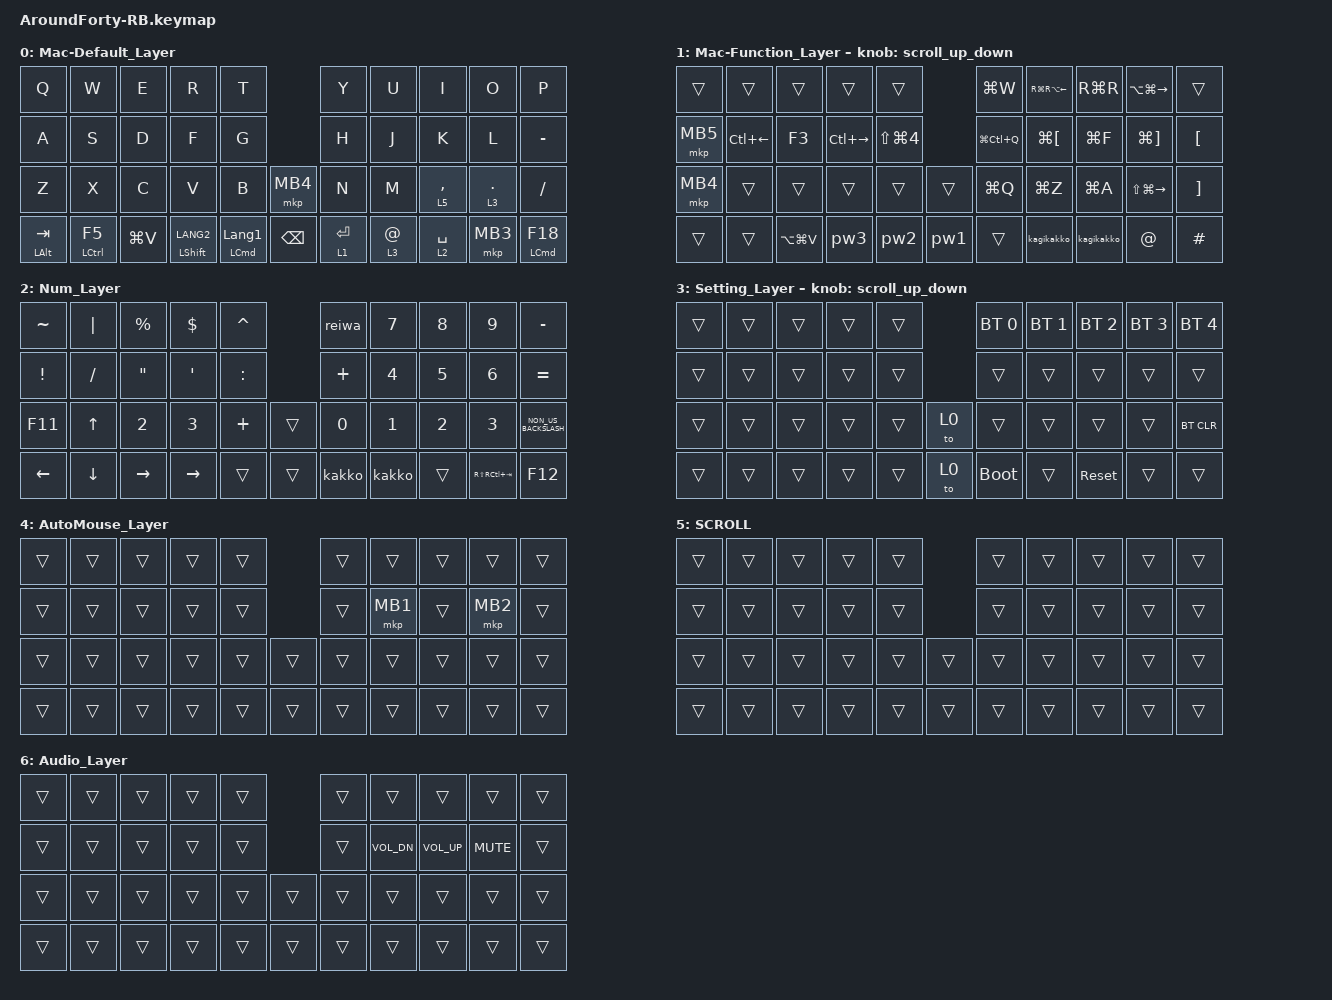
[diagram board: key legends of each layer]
#define ZMK_POINTING_DEFAULT_SCRL_VAL 100
#define MOUSE 6

#include <behaviors.dtsi>
#include <dt-bindings/zmk/bt.h>
#include <dt-bindings/zmk/keys.h>
#include <dt-bindings/zmk/pointing.h>

&mt {
    flavor = "balanced";
    tapping-term-ms = <300>;
};

&lt { quick-tap-ms = <300>; };

/ {
    combos {
        compatible = "zmk,combos";

        mouse_left_combo {
            timeout-ms = <45>;
            key-positions = <16 17>;
            layers = <0 4>;
            bindings = <&mkp MB1>;
            slow-release;
        };

        mouse_right_combo {
            timeout-ms = <45>;
            key-positions = <17 18>;
            layers = <0 4>;
            bindings = <&mkp MB2>;
            slow-release;
        };

        audio_combo {
            timeout-ms = <60>;
            key-positions = <39 37>;
            layers = <0 4>;
            bindings = <&mo 6>;
            slow-release;
        };


        tab {
            bindings = <&kp TAB>;
            key-positions = <10 11>;
        };

        shift+tab {
            bindings = <&kp LS(TAB)>;
            key-positions = <19 18>;
        };

        escape {
            bindings = <&kp ESCAPE>;
            key-positions = <0 1>;
        };
    };

    macros {
        kagikakko: new_macro {
            compatible = "zmk,behavior-macro";
            #binding-cells = <0>;
            bindings = <&kp LANGUAGE_1 &kp LEFT_BRACKET &kp RIGHT_BRACKET &kp RET &kp LEFT_ARROW>;
            label = "NEW_MACRO";
        };

        kakko: kakko {
            compatible = "zmk,behavior-macro";
            #binding-cells = <0>;
            bindings = <&kp LEFT_PARENTHESIS &kp RIGHT_PARENTHESIS &kp RET &kp LEFT_ARROW>;
            label = "KAKKO";
        };

        reiwa: reiwa {
            compatible = "zmk,behavior-macro";
            #binding-cells = <0>;
            bindings = <&kp LANGUAGE_1 &kp R &kp E &kp I &kp W &kp A>;
            label = "REIWA";
        };

        pw1: pw1 {
            compatible = "zmk,behavior-macro";
            #binding-cells = <0>;
            bindings = <&kp LANGUAGE_2 &kp N &kp O &kp B &kp U &kp NUMBER_6 &kp N9 &kp N5 &kp N7>;
            label = "PW1";
        };

        pw2: pw2 {
            compatible = "zmk,behavior-macro";
            #binding-cells = <0>;
            bindings = <&kp LANGUAGE_2 &kp LS(B) &kp A &kp T &kp B &kp NUMBER_3 &kp NUMBER_3 &kp N5 &kp N5 &kp NUMBER_3 &kp NUMBER_3>;
            label = "PW2";
        };

        pw3: pw3 {
            compatible = "zmk,behavior-macro";
            #binding-cells = <0>;
            bindings = <&kp LANGUAGE_2 &kp LS(B) &kp A &kp T &kp B &kp N0 &kp NUMBER_2 &kp NUMBER_1 &kp NUMBER_1>;
            label = "PW3";
        };
    };

    behaviors {
        scroll_up_down: behavior_sensor_rotate_mouse_wheel_up_down {
            compatible = "zmk,behavior-sensor-rotate";
            #sensor-binding-cells = <0>;
            bindings = <&msc SCRL_UP>, <&msc SCRL_DOWN>;

            tap-ms = <20>;
        };
    };

    keymap {
        compatible = "zmk,keymap";

        Mac-Default_Layer {
            bindings = <
&kp Q &kp W &kp E &kp R &kp T &kp Y &kp U &kp I &kp O &kp P
&kp A &kp S &kp D &kp F &kp G &kp H &kp J &kp K &kp L &kp MINUS
&kp Z &kp X &kp C &kp V &kp B &mkp MB4 &kp N &kp M &lt 5 COMMA &lt 3 PERIOD &kp SLASH
&mt LEFT_ALT TAB &mt LEFT_CONTROL F5 &kp LG(V) &mt LEFT_SHIFT LANG2 &mt LEFT_COMMAND LANGUAGE_1 &kp BACKSPACE &lt 1 ENTER &lt 3 AT_SIGN &lt 2 SPACE &mkp MB3 &mt LEFT_COMMAND F18
            >;
        };

        Mac-Function_Layer {
            bindings = <
&trans &trans &trans &trans &trans &kp LG(W) &kp RG(RA(LEFT_ARROW)) &kp RG(R) &kp LA(LG(RIGHT_ARROW)) &trans
&mkp MB5 &kp LC(LEFT) &kp F3 &kp LC(RIGHT) &kp LS(LG(NUMBER_4)) &kp LG(LC(Q)) &kp LG(LEFT_BRACKET) &kp LG(F) &kp LG(RIGHT_BRACKET) &kp LEFT_BRACKET
&mkp MB4 &trans &trans &trans &trans &trans &kp LG(Q) &kp LG(Z) &kp LG(A) &kp LS(LG(RIGHT)) &kp RIGHT_BRACKET
&trans &trans &kp LA(LG(V)) &pw3 &pw2 &pw1 &trans &kagikakko &kagikakko &kp AT_SIGN &kp HASH
            >;

            sensor-bindings = <&scroll_up_down>;
        };

        Num_Layer {
            bindings = <
&kp TILDE &kp PIPE &kp PERCENT &kp DOLLAR &kp CARET &reiwa &kp N7 &kp N8 &kp N9 &kp MINUS
&kp EXCLAMATION &kp SLASH &kp DOUBLE_QUOTES &kp SINGLE_QUOTE &kp COLON &kp PLUS &kp NUMBER_4 &kp N5 &kp NUMBER_6 &kp EQUAL
&kp F11 &kp UP_ARROW &kp NUMBER_2 &kp NUMBER_3 &kp PLUS &trans &kp NUMBER_0 &kp NUMBER_1 &kp NUMBER_2 &kp NUMBER_3 &kp NON_US_BACKSLASH
&kp LEFT_ARROW &kp DOWN_ARROW &kp RIGHT_ARROW &kp RIGHT_ARROW &trans &trans &kakko &kakko &trans &kp RS(RC(TAB)) &kp F12
            >;
        };

        Setting_Layer {
            bindings = <
&trans  &trans  &trans  &trans  &trans         &bt BT_SEL 0  &bt BT_SEL 1  &bt BT_SEL 2  &bt BT_SEL 3  &bt BT_SEL 4
&trans  &trans  &trans  &trans  &trans         &trans        &trans        &trans        &trans        &trans
&trans  &trans  &trans  &trans  &trans  &to 0  &trans        &trans        &trans        &trans        &bt BT_CLR
&trans  &trans  &trans  &trans  &trans  &to 0  &bootloader   &trans        &sys_reset    &trans        &trans
            >;

            sensor-bindings = <&scroll_up_down>;
        };

        AutoMouse_Layer {
            bindings = <
&trans  &trans  &trans  &trans  &trans          &trans  &trans    &trans  &trans    &trans
&trans  &trans  &trans  &trans  &trans          &trans  &mkp MB1  &trans  &mkp MB2  &trans
&trans  &trans  &trans  &trans  &trans  &trans  &trans  &trans    &trans  &trans    &trans
&trans  &trans  &trans  &trans  &trans  &trans  &trans  &trans    &trans  &trans    &trans
            >;
        };

        SCROLL {
            bindings = <
&trans  &trans  &trans  &trans  &trans          &trans  &trans  &trans  &trans  &trans
&trans  &trans  &trans  &trans  &trans          &trans  &trans  &trans  &trans  &trans
&trans  &trans  &trans  &trans  &trans  &trans  &trans  &trans  &trans  &trans  &trans
&trans  &trans  &trans  &trans  &trans  &trans  &trans  &trans  &trans  &trans  &trans
            >;
        };

        Audio_Layer {
            bindings = <
&trans &trans &trans &trans &trans &trans &trans &trans &trans &trans
&trans &trans &trans &trans &trans &trans &kp C_VOL_DN &kp C_VOL_UP &kp C_MUTE &trans
&trans &trans &trans &trans &trans &trans &trans &trans &trans &trans &trans
&trans &trans &trans &trans &trans &trans &trans &trans &trans &trans &trans
            >;
        };
    };
};
